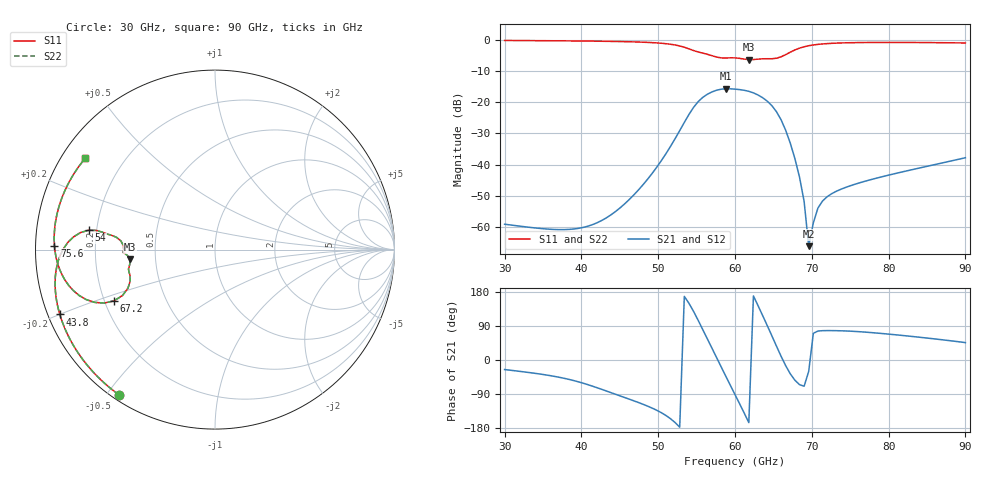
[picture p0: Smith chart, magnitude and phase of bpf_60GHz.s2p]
#  GHZ S DB R 50
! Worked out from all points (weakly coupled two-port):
!   101 points, 30 GHz to 90 GHz, reference 50 ohm
!   highest |S21| = -15.71 dB at 58.8 GHz (marker M1); lowest = -66.0 dB at 69.6 GHz (marker M2)
!   lowest |S11| = -6.4 dB at 61.8 GHz (marker M3), VSWR 2.84, Z = 17.7 - j2.47 ohm
!   |S11| at or under -10 dB: nowhere
!   |S22| runs from -6.4 to -0.3 dB; largest |S21 - S12| = 3.6e-13
!   S11 on the Smith chart (normalised r, x): 30 GHz: 0.02, -0.54; 43.8 GHz: 0.03, -0.20; 54 GHz: 0.17, +0.07; 67.2 GHz: 0.24, -0.23; 75.6 GHz: 0.06, +0.01; 90 GHz: 0.07, +0.32
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30  -0.27 -123.5  -59.00 -25.2  -59.00 -25.2  -0.27 -123.5
40.2  -0.45 -148.7  -60.04 -61.1  -60.04 -61.1  -0.45 -148.7
43.8  -0.57 -157.3  -56.09 -85.8  -56.09 -85.8  -0.57 -157.3
47.4  -0.77 -166.7  -48.12 -112.0  -48.12 -112.0  -0.77 -166.7
50.4  -1.16 -176.0  -38.71 -139.0  -38.71 -139.0  -1.16 -176.0
54  -2.94 171.3  -23.93 149.7  -23.93 149.7  -2.94 171.3
56.4  -4.69 172.1  -17.46 55.7  -17.46 55.7  -4.69 172.1
58.8  -5.88 -179.8  -15.71 -42.8  -15.71 -42.8  -5.88 -179.9
60  -5.83 -177.9  -15.83 -91.3  -15.83 -91.3  -5.84 -177.9
61.8  -6.39 -173.6  -16.53 -165.3  -16.53 -165.3  -6.40 -173.5
64.8  -6.11 -163.3  -21.11 63.9  -21.11 63.9  -6.11 -163.3
66  -5.50 -156.0  -25.63 9.9  -25.63 9.9  -5.49 -156.0
67.2  -4.01 -153.1  -33.11 -36.4  -33.11 -36.4  -4.01 -153.1
68.4  -2.72 -156.3  -43.93 -65.0  -43.93 -65.0  -2.72 -156.3
69  -2.28 -158.8  -51.72 -69.3  -51.72 -69.3  -2.28 -158.8
69.6  -1.95 -161.3  -66.02 -29.8  -66.02 -29.8  -1.95 -161.3
70.2  -1.71 -163.9  -58.57 70.4  -58.57 70.4  -1.71 -163.9
70.8  -1.52 -166.3  -53.82 76.4  -53.82 76.4  -1.52 -166.3
72  -1.27 -170.7  -50.21 77.6  -50.21 77.6  -1.27 -170.7
75.6  -0.96 178.6  -46.24 75.4  -46.24 75.4  -0.97 178.6
80.4  -0.89 166.9  -43.08 67.5  -43.08 67.5  -0.90 166.9
90  -1.07 144.8  -37.75 45.9  -37.75 45.9  -1.07 144.8
